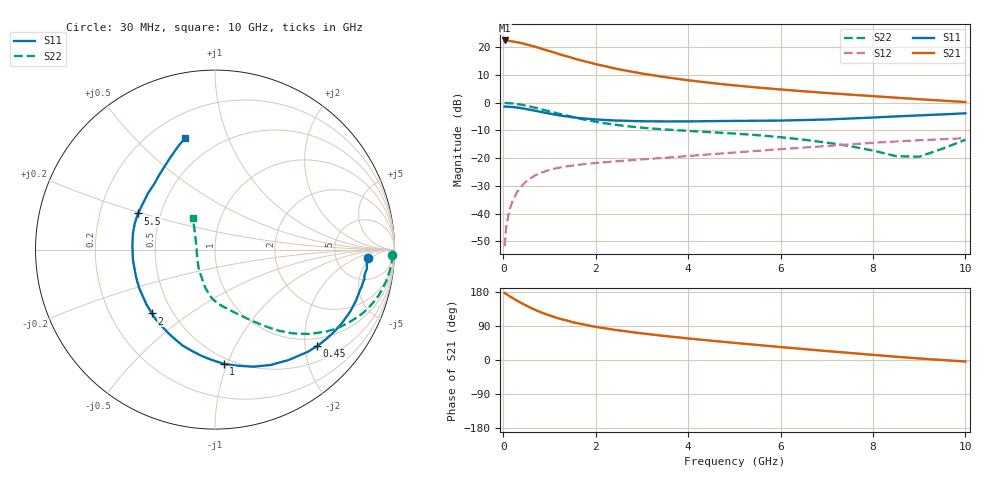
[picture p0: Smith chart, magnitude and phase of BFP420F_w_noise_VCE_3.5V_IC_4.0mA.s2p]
! Infineon Technologies  Discrete & RF Semiconductors
! BFP420F
! VCE =  3.5 V,  IC =  4.0 mA
! Common Emitter S-Parameters:  Sep 2011
# GHz  S  MA  R  50
!  f  S11  S21  S12  S22
! GHz  MAG  ANG  MAG  ANG  MAG  ANG  MAG  ANG
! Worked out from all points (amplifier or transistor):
!   54 points, 30 MHz to 10 GHz, reference 50 ohm
!   highest |S21| = 22.4 dB at 40 MHz (marker M1)
!   |S21| within 3 dB of that: start of sweep to 834.3 MHz
!   unconditionally stable (mu >= 1): 2.742 GHz to end of sweep
!   at 120 MHz: K = 0.10, MSG = 31.1 dB, |S12| = -39.9 dB
!   at 1.3 GHz: K = 0.47, MSG = 20.1 dB, |S12| = -23.1 dB
!   at 10 GHz: K = 1.41, MAG = 2.7 dB, |S12| = -12.8 dB
!   lowest NFmin = 0.90 dB at 450 MHz
!   S11 on the Smith chart (normalised r, x): 30 MHz: 11, -4; 450 MHz: 0.81, -2.26; 1 GHz: 0.45, -0.97; 2 GHz: 0.38, -0.36; 5.5 GHz: 0.37, +0.19; 10 GHz: 0.33, +0.71
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0.03  0.8531 -3.2  13.23 176.8  0.0026 79.8  0.9893 -1.7
0.04  0.8524 -3.9  13.24 176.0  0.0033 82.5  0.9885 -2.2
0.1  0.845 -10.2  13.15 171.3  0.0083 83.5  0.9842 -5.4
0.25  0.8286 -24.8  12.48 160.1  0.0204 76.9  0.9571 -13.3
0.35  0.8068 -34.5  12.08 153.2  0.0282 72.7  0.9316 -18.2
0.45  0.783 -43.4  11.55 146.6  0.0351 68.8  0.9007 -22.7
0.6  0.7397 -56.2  10.67 137.4  0.044 63.0  0.8453 -29.0
0.7  0.714 -64.2  10.16 131.9  0.0494 59.7  0.8099 -32.8
0.8  0.6866 -71.8  9.576 126.6  0.0539 56.8  0.7717 -36.2
1  0.6381 -85.6  8.518 117.7  0.0614 52.0  0.6995 -42.2
1.2  0.5949 -97.8  7.547 109.7  0.0672 48.0  0.6346 -47.3
1.3  0.5778 -103.2  7.139 106.5  0.0696 46.6  0.6059 -49.3
1.5  0.5476 -113.7  6.398 99.9  0.0738 44.0  0.5534 -53.3
1.7  0.524 -122.7  5.745 94.9  0.0772 42.2  0.5079 -56.9
2  0.4999 -134.6  4.95 87.6  0.0817 40.2  0.4544 -61.8
2.6  0.4738 -152.7  3.866 76.6  0.0896 38.6  0.3841 -69.9
3.5  0.4606 -173.0  2.889 63.3  0.1019 38.0  0.3295 -79.8
4.5  0.4659 169.1  2.269 50.9  0.1179 37.4  0.2941 -88.3
5.5  0.4735 154.8  1.88 39.6  0.1359 36.1  0.2602 -95.9
7  0.4986 132.8  1.497 23.6  0.1658 32.4  0.1909 -110.2
8.5  0.5667 116.5  1.232 8.6  0.2004 26.1  0.109 -155.8
10  0.6443 104.9  1.03 -4.0  0.2299 18.6  0.2147 124.8
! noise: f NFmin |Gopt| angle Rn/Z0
0.45  0.9  0.29  15  0.18
0.9  0.93  0.3  37  0.18
1.9  1.14  0.23  96  0.14
2.4  1.24  0.24  105  0.15
3.5  1.56  0.28  144  0.16
